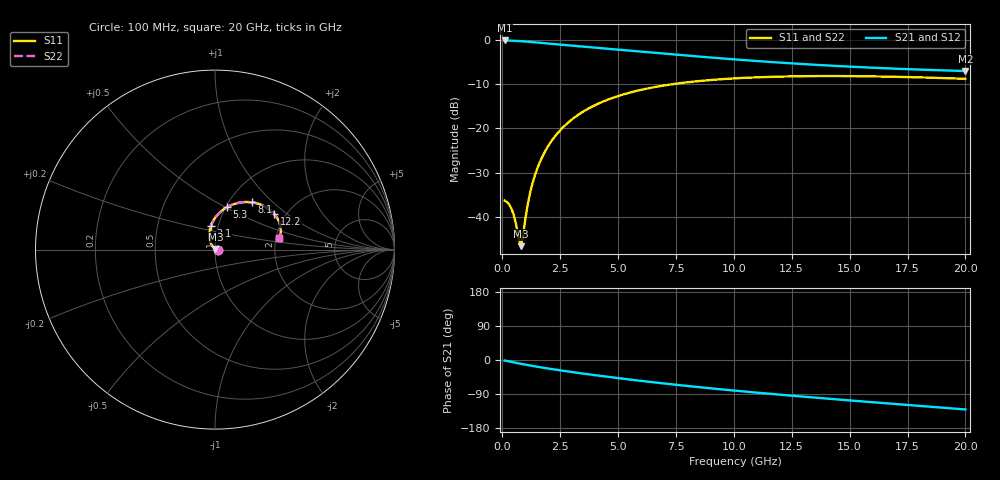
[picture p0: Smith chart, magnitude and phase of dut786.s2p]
! Touchstone file exported from HFSS 2024.1.0
!  File:  C:/UserFiles/LocalFiles/RDL_TSV_Batchsim/temp_RDL_TSV_786_1779906642.aedt
!  Generated:  02:42:59 AM May 28, 2026
!  Design:  RDL_TSV
!  Project:  temp_RDL_TSV_786_1779906642
!  Setup:  Setup1
!  Solution:  Sweep
! Variables:
!  dtsv = 13.81um
!  hbump = 3um
!  htsv = 52.17um
!  ldown = 399.87um
!  lrdl = 138.88um
!  p = 40
!  p1 = 51.33um
!  rhole = 10um
!  subl = 1755.13um
!  t = 450um
!  tdown = 3.14um
!  trdl = 3.03um
!  viad = 10um
!  wdown = 10.51um
!  wrdl = 28.24um
!  xbump = 18um
# GHz S MA R 50.000000
! Terminal data exported
! Port[1] = TM1_1_T1
! Port[2] = TM1_4_T1
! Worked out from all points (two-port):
!   200 points, 100 MHz to 20 GHz, reference 50 ohm
!   highest |S21| = -0.14 dB at 100 MHz (marker M1); lowest = -7.1 dB at 20 GHz (marker M2)
!   |S21| within 3 dB of the highest: start of sweep to 7.034 GHz
!   lowest |S11| = -46.6 dB at 800 MHz (marker M3), VSWR 1.01, Z = 50.2 + j0.408 ohm
!   |S11| at or under -10 dB: start of sweep to 7.386 GHz
!   |S22| runs from -46.6 to -8.2 dB; largest |S21 - S12| = 1.1e-14
!   S11 on the Smith chart (normalised r, x): 100 MHz: 1.03, +0.00; 3.1 GHz: 0.92, +0.24; 5.3 GHz: 1.01, +0.51; 8.1 GHz: 1.27, +0.75; 12.2 GHz: 1.74, +0.81; 20 GHz: 2.07, +0.32
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0.1  0.01524 0.3  0.9842 -1.3  0.9842 -1.3  0.01524 0.3
! Gamma 0 0 0 0
! Port Impedance 50 0 50 0
0.4  0.01229 1.2  0.979 -5.1  0.979 -5.1  0.0123 1.2
0.5  0.01036 3.5  0.9763 -6.4  0.9763 -6.4  0.01037 3.5
0.7  0.005812 25.3  0.9697 -8.8  0.9697 -8.8  0.005819 25.2
0.8  0.004654 60.8  0.9659 -10.0  0.9659 -10.0  0.004654 60.6
0.9  0.006182 98.3  0.9618 -11.2  0.9618 -11.2  0.006169 98.1
1  0.00961 115.6  0.9575 -12.3  0.9575 -12.3  0.009587 115.6
1.2  0.0186 125.2  0.9483 -14.5  0.9483 -14.5  0.01857 125.2
1.4  0.02898 125.7  0.9385 -16.7  0.9385 -16.7  0.02894 125.7
1.6  0.04021 123.7  0.9285 -18.8  0.9285 -18.8  0.04015 123.7
1.9  0.05803 119.3  0.9133 -21.7  0.9133 -21.7  0.05796 119.3
2.2  0.07647 114.4  0.8983 -24.6  0.8983 -24.6  0.07637 114.4
3.1  0.1316 100.5  0.8557 -32.6  0.8557 -32.6  0.1314 100.5
3.5  0.1549 94.9  0.8379 -35.9  0.8379 -35.9  0.1547 94.9
5.3  0.2446 74.5  0.7628 -50.0  0.7628 -50.0  0.2443 74.4
6.8  0.2994 61.4  0.7053 -60.7  0.7053 -60.7  0.299 61.4
8.1  0.3337 52.1  0.6599 -69.2  0.6599 -69.2  0.3333 52.1
10.1  0.3677 40.6  0.5994 -81.2  0.5994 -81.2  0.3672 40.6
12.2  0.3852 31.1  0.5485 -92.6  0.5485 -92.6  0.3846 31.1
13.4  0.3891 26.6  0.5246 -98.8  0.5246 -98.8  0.3884 26.6
16.7  0.3836 16.9  0.4753 -114.9  0.4753 -114.9  0.3829 16.9
20  0.3625 10.6  0.4441 -130.5  0.4441 -130.5  0.3617 10.6
